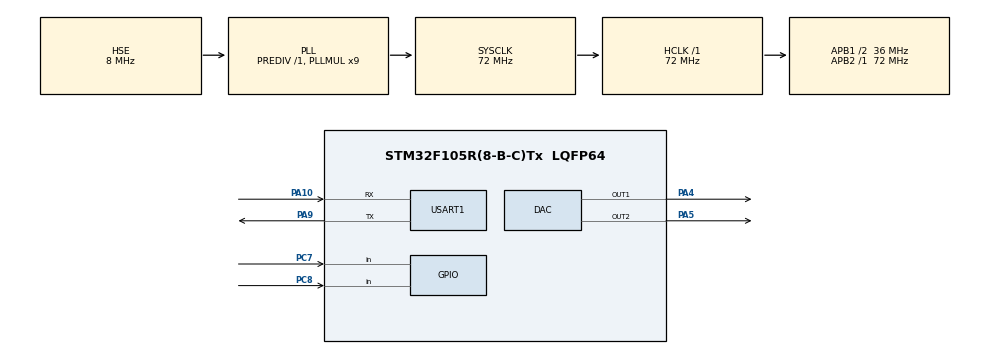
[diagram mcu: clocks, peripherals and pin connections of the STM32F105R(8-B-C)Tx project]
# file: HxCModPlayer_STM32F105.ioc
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DAC.DAC_Trigger=DAC_TRIGGER_T6_TRGO
Dma.DAC_CH1.0.Direction=DMA_MEMORY_TO_PERIPH
Dma.DAC_CH1.0.Instance=DMA2_Channel3
Dma.DAC_CH1.0.MemDataAlignment=DMA_MDATAALIGN_HALFWORD
Dma.DAC_CH1.0.MemInc=DMA_MINC_ENABLE
Dma.DAC_CH1.0.Mode=DMA_CIRCULAR
Dma.DAC_CH1.0.PeriphDataAlignment=DMA_PDATAALIGN_HALFWORD
Dma.DAC_CH1.0.PeriphInc=DMA_PINC_DISABLE
Dma.DAC_CH1.0.Priority=DMA_PRIORITY_MEDIUM
Dma.Request0=DAC_CH1
Mcu.Family=STM32F1
Mcu.Name=STM32F105R(8-B-C)Tx
Mcu.Package=LQFP64
NVIC.DMA2_Channel3_IRQn=true\:0\:0\:false\:false\:true\:false
NVIC.PriorityGroup=NVIC_PRIORITYGROUP_4
PA10.Mode=Asynchronous
PA10.Signal=USART1_RX
PA4.Signal=COMP_DAC1_group
PA5.Signal=COMP_DAC2_group
PA9.Mode=Asynchronous
PA9.Signal=USART1_TX
PB10.Signal=I2C2_SCL
PB11.Signal=I2C2_SDA
PC7.GPIO_PuPd=GPIO_PULLUP
PC7.Signal=GPIO_Input
PC8.GPIO_PuPd=GPIO_PULLUP
PC8.Signal=GPIO_Input
PD0-OSC_IN.Mode=HSE-External-Oscillator
PD0-OSC_IN.Signal=RCC_OSC_IN
PD1-OSC_OUT.Mode=HSE-External-Oscillator
PD1-OSC_OUT.Signal=RCC_OSC_OUT
ProjectManager.HeapSize=0x200
ProjectManager.StackSize=0x400
ProjectManager.TargetToolchain=Makefile
RCC.AHBFreq_Value=72000000
RCC.APB1CLKDivider=RCC_HCLK_DIV2
RCC.APB1Freq_Value=36000000
RCC.APB1TimFreq_Value=72000000
RCC.APB2Freq_Value=72000000
RCC.APB2TimFreq_Value=72000000
RCC.HCLKFreq_Value=72000000
RCC.PLLMUL=RCC_PLL_MUL9
RCC.PLLSourceVirtual=RCC_PLLSOURCE_HSE
RCC.SYSCLKFreq_VALUE=72000000
RCC.SYSCLKSource=RCC_SYSCLKSOURCE_PLLCLK
RCC.USBFreq_Value=48000000
SH.COMP_DAC1_group.0=DAC_OUT1,DAC_OUT1
SH.COMP_DAC2_group.0=DAC_OUT2,DAC_OUT2
TIM6.AutoReloadPreload=TIM_AUTORELOAD_PRELOAD_ENABLE
TIM6.Period=750
TIM6.Prescaler=0
TIM6.TIM_MasterOutputTrigger=TIM_TRGO_UPDATE
USART1.VirtualMode=VM_ASYNC
VP_SYS_VS_ND.Mode=No_Debug
VP_TIM6_VS_ClockSourceINT.Mode=Enable_Timer
board=HxCModPlayer_STM32F105

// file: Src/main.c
/**
  ******************************************************************************
  * File Name          : main.c
  * Description        : Main program body
  ******************************************************************************
  ** This notice applies to any and all portions of this file
  * that are not between comment pairs USER CODE BEGIN and
  * USER CODE END. Other portions of this file, whether
  * inserted by the user or by software development tools
  * are owned by their respective copyright owners.
  *
  * COPYRIGHT(c) 2018 STMicroelectronics
  *
  * Redistribution and use in source and binary forms, with or without modification,
  * are permitted provided that the following conditions are met:
  *   1. Redistributions of source code must retain the above copyright notice,
  *      this list of conditions and the following disclaimer.
  *   2. Redistributions in binary form must reproduce the above copyright notice,
  *      this list of conditions and the following disclaimer in the documentation
  *      and/or other materials provided with the distribution.
  *   3. Neither the name of STMicroelectronics nor the names of its contributors
  *      may be used to endorse or promote products derived from this software
  *      without specific prior written permission.
  *
  * THIS SOFTWARE IS PROVIDED BY THE COPYRIGHT HOLDERS AND CONTRIBUTORS "AS IS"
  * AND ANY EXPRESS OR IMPLIED WARRANTIES, INCLUDING, BUT NOT LIMITED TO, THE
  * IMPLIED WARRANTIES OF MERCHANTABILITY AND FITNESS FOR A PARTICULAR PURPOSE ARE
  * DISCLAIMED. IN NO EVENT SHALL THE COPYRIGHT HOLDER OR CONTRIBUTORS BE LIABLE
  * FOR ANY DIRECT, INDIRECT, INCIDENTAL, SPECIAL, EXEMPLARY, OR CONSEQUENTIAL
  * DAMAGES (INCLUDING, BUT NOT LIMITED TO, PROCUREMENT OF SUBSTITUTE GOODS OR
  * SERVICES; LOSS OF USE, DATA, OR PROFITS; OR BUSINESS INTERRUPTION) HOWEVER
  * CAUSED AND ON ANY THEORY OF LIABILITY, WHETHER IN CONTRACT, STRICT LIABILITY,
  * OR TORT (INCLUDING NEGLIGENCE OR OTHERWISE) ARISING IN ANY WAY OUT OF THE USE
  * OF THIS SOFTWARE, EVEN IF ADVISED OF THE POSSIBILITY OF SUCH DAMAGE.
  *
  ******************************************************************************
  */

#include "main.h"
#include "stm32f1xx_hal.h"

/* USER CODE BEGIN Includes */

// HxC MOD Player Demo for STM32
// 13 January 2018
// (c) Jean-François DEL NERO
// (c) HxC2001

#include "../../../hxcmod.h"
#include "print.h"
#include "gotek_display.h"

/* USER CODE END Includes */

DAC_HandleTypeDef hdac;
DMA_HandleTypeDef hdma_dac_ch1;

TIM_HandleTypeDef htim6;

UART_HandleTypeDef huart1;

/* USER CODE BEGIN PV */
/* Private variables ---------------------------------------------------------*/

#define PLAYER_SAMPLE_RATE 96000

// Mod player context
modcontext mcontext;

// MOD data
extern const unsigned char mod_data[39424];

// Computed sound output buffer
#define SAMPLE_BUFFER_SIZE 8192
msample dmasoundbuffer[SAMPLE_BUFFER_SIZE] __attribute__ ((aligned (4)));

/* USER CODE END PV */

void SystemClock_Config(void);
static void MX_GPIO_Init(void);
static void MX_DMA_Init(void);
static void MX_USART1_UART_Init(void);
static void MX_DAC_Init(void);
static void MX_TIM6_Init(void);

/* USER CODE BEGIN PFP */
/* Private function prototypes -----------------------------------------------*/

/* USER CODE END PFP */

/* USER CODE BEGIN 0 */

// First half samples buffer part need to be updated.
void HAL_DAC_ConvHalfCpltCallbackCh1(DAC_HandleTypeDef* hdac)
{
  int i;
  /* Prevent unused argument(s) compilation warning */
  UNUSED(hdac);

  hxcmod_fillbuffer( &mcontext, (msample*)&dmasoundbuffer, SAMPLE_BUFFER_SIZE/2, NULL );

  // 16 to 12 bits conversion to match with the STM32 DAC.
  for(i=0;i<SAMPLE_BUFFER_SIZE/2;i++)
    dmasoundbuffer[i] = dmasoundbuffer[i] >> 4;
}

// Last half samples buffer part need to be updated.
void HAL_DAC_ConvCpltCallbackCh1(DAC_HandleTypeDef* hdac)
{
  int i;
  /* Prevent unused argument(s) compilation warning */
  UNUSED(hdac);

  hxcmod_fillbuffer( &mcontext, (msample*)&dmasoundbuffer[SAMPLE_BUFFER_SIZE/2], SAMPLE_BUFFER_SIZE/2, NULL );

  // 16 to 12 bits conversion to match with the STM32 DAC.
  for(i=0;i<SAMPLE_BUFFER_SIZE/2;i++)
    dmasoundbuffer[(SAMPLE_BUFFER_SIZE/2) + i] = dmasoundbuffer[(SAMPLE_BUFFER_SIZE/2) + i] >> 4;
}

void HAL_DAC_ErrorCallbackCh1(DAC_HandleTypeDef *hdac)
{
  /* Prevent unused argument(s) compilation warning */
  UNUSED(hdac);

  print("HAL_DAC_ErrorCallbackCh1\r\n");
}

/* USER CODE END 0 */

int main(void)
{

  /* USER CODE BEGIN 1 */
  int i,oldpatternpos;
  /* USER CODE END 1 */

  /* MCU Configuration----------------------------------------------------------*/

  /* Reset of all peripherals, Initializes the Flash interface and the Systick. */
  HAL_Init();

  /* Configure the system clock */
  SystemClock_Config();

  /* Initialize all configured peripherals */
  MX_GPIO_Init();
  MX_DMA_Init();
  MX_USART1_UART_Init();
  MX_DAC_Init();
  MX_TIM6_Init();

  /* USER CODE BEGIN 2 */
  init_display();

  print("\r\n\r\n");
  print("***************************************\r\n");
  print("*  STM32 HxC Mod Player Demonstrator  *\r\n");
  print("*       (c)2018 J-F DEL NERO          *\r\n");
  print("***************************************\r\n\r\n");

  print("HxCMod Init...\r\n");
  hxcmod_init( &mcontext );

  print("HxCMod Set config...\r\n");
  hxcmod_setcfg( &mcontext, PLAYER_SAMPLE_RATE, 0, 0);

  print("Load module...\r\n");
  hxcmod_load( &mcontext, (void*)&mod_data, sizeof(mod_data) );

  print("Playing...\r\n");

  // Clear Buffer
  for(i=0;i<SAMPLE_BUFFER_SIZE;i++)
  {
    dmasoundbuffer[i] = 2048;
  }

  HAL_DAC_Start_DMA(&hdac, DAC_CHANNEL_1, (uint32_t*)&dmasoundbuffer, SAMPLE_BUFFER_SIZE , DAC_ALIGN_12B_R);

  // Go !
  HAL_TIM_Base_Start(&htim6);

  /* USER CODE END 2 */

  /* Infinite loop */
  /* USER CODE BEGIN WHILE */
  i = 0;
  oldpatternpos = -1;
  while (1)
  {
    /* USER CODE END WHILE */
    //Print the pattern position if needed.
    if(mcontext.patternpos != oldpatternpos)
    {
      oldpatternpos = mcontext.patternpos;
      printdigit( oldpatternpos / mcontext.number_of_channels );
    }
    /* USER CODE BEGIN 3 */
  }

  hxcmod_unload( &mcontext );
  /* USER CODE END 3 */
}

/** System Clock Configuration
*/
void SystemClock_Config(void)
{

  RCC_OscInitTypeDef RCC_OscInitStruct;
  RCC_ClkInitTypeDef RCC_ClkInitStruct;

    /**Initializes the CPU, AHB and APB busses clocks
    */
  RCC_OscInitStruct.OscillatorType = RCC_OSCILLATORTYPE_HSE;
  RCC_OscInitStruct.HSEState = RCC_HSE_ON;
  RCC_OscInitStruct.HSEPredivValue = RCC_HSE_PREDIV_DIV1;
  RCC_OscInitStruct.HSIState = RCC_HSI_ON;
  RCC_OscInitStruct.Prediv1Source = RCC_PREDIV1_SOURCE_HSE;
  RCC_OscInitStruct.PLL.PLLState = RCC_PLL_ON;
  RCC_OscInitStruct.PLL.PLLSource = RCC_PLLSOURCE_HSE;
  RCC_OscInitStruct.PLL.PLLMUL = RCC_PLL_MUL9;
  RCC_OscInitStruct.PLL2.PLL2State = RCC_PLL_NONE;
  if (HAL_RCC_OscConfig(&RCC_OscInitStruct) != HAL_OK)
  {
    _Error_Handler(__FILE__, __LINE__);
  }

    /**Initializes the CPU, AHB and APB busses clocks
    */
  RCC_ClkInitStruct.ClockType = RCC_CLOCKTYPE_HCLK|RCC_CLOCKTYPE_SYSCLK
                              |RCC_CLOCKTYPE_PCLK1|RCC_CLOCKTYPE_PCLK2;
  RCC_ClkInitStruct.SYSCLKSource = RCC_SYSCLKSOURCE_PLLCLK;
  RCC_ClkInitStruct.AHBCLKDivider = RCC_SYSCLK_DIV1;
  RCC_ClkInitStruct.APB1CLKDivider = RCC_HCLK_DIV2;
  RCC_ClkInitStruct.APB2CLKDivider = RCC_HCLK_DIV1;

  if (HAL_RCC_ClockConfig(&RCC_ClkInitStruct, FLASH_LATENCY_2) != HAL_OK)
  {
    _Error_Handler(__FILE__, __LINE__);
  }

    /**Configure the Systick interrupt time
    */
  HAL_SYSTICK_Config(HAL_RCC_GetHCLKFreq()/1000);

    /**Configure the Systick
    */
  HAL_SYSTICK_CLKSourceConfig(SYSTICK_CLKSOURCE_HCLK);

    /**Configure the Systick interrupt time
    */
  __HAL_RCC_PLLI2S_ENABLE();

  /* SysTick_IRQn interrupt configuration */
  HAL_NVIC_SetPriority(SysTick_IRQn, 0, 0);
}

/* DAC init function */
static void MX_DAC_Init(void)
{

  DAC_ChannelConfTypeDef sConfig;

    /**DAC Initialization
    */
  hdac.Instance = DAC;
  if (HAL_DAC_Init(&hdac) != HAL_OK)
  {
    _Error_Handler(__FILE__, __LINE__);
  }

    /**DAC channel OUT1 config
    */
  sConfig.DAC_Trigger = DAC_TRIGGER_T6_TRGO;
  sConfig.DAC_OutputBuffer = DAC_OUTPUTBUFFER_ENABLE;
  if (HAL_DAC_ConfigChannel(&hdac, &sConfig, DAC_CHANNEL_1) != HAL_OK)
  {
    _Error_Handler(__FILE__, __LINE__);
  }

    /**DAC channel OUT2 config
    */
  sConfig.DAC_Trigger = DAC_TRIGGER_NONE;
  if (HAL_DAC_ConfigChannel(&hdac, &sConfig, DAC_CHANNEL_2) != HAL_OK)
  {
    _Error_Handler(__FILE__, __LINE__);
  }

}

/* TIM6 init function */
static void MX_TIM6_Init(void)
{

  TIM_MasterConfigTypeDef sMasterConfig;

  htim6.Instance = TIM6;
  htim6.Init.Prescaler = 0;
  htim6.Init.CounterMode = TIM_COUNTERMODE_UP;
  htim6.Init.Period = SystemCoreClock / PLAYER_SAMPLE_RATE;
  htim6.Init.AutoReloadPreload = TIM_AUTORELOAD_PRELOAD_ENABLE;
  if (HAL_TIM_Base_Init(&htim6) != HAL_OK)
  {
    _Error_Handler(__FILE__, __LINE__);
  }

  sMasterConfig.MasterOutputTrigger = TIM_TRGO_UPDATE;
  sMasterConfig.MasterSlaveMode = TIM_MASTERSLAVEMODE_DISABLE;
  if (HAL_TIMEx_MasterConfigSynchronization(&htim6, &sMasterConfig) != HAL_OK)
  {
    _Error_Handler(__FILE__, __LINE__);
  }

}

/* USART1 init function */
static void MX_USART1_UART_Init(void)
{

  huart1.Instance = USART1;
  huart1.Init.BaudRate = 115200;
  huart1.Init.WordLength = UART_WORDLENGTH_8B;
  huart1.Init.StopBits = UART_STOPBITS_1;
  huart1.Init.Parity = UART_PARITY_NONE;
  huart1.Init.Mode = UART_MODE_TX_RX;
  huart1.Init.HwFlowCtl = UART_HWCONTROL_NONE;
  huart1.Init.OverSampling = UART_OVERSAMPLING_16;
  if (HAL_UART_Init(&huart1) != HAL_OK)
  {
    _Error_Handler(__FILE__, __LINE__);
  }

}

static void MX_DMA_Init(void)
{
  /* DMA controller clock enable */
  __HAL_RCC_DMA2_CLK_ENABLE();

  /* DMA interrupt init */
  /* DMA2_Channel3_IRQn interrupt configuration */
  HAL_NVIC_SetPriority(DMA2_Channel3_IRQn, 0, 0);
  HAL_NVIC_EnableIRQ(DMA2_Channel3_IRQn);

}

/** Configure pins as
        * Analog
        * Input
        * Output
        * EVENT_OUT
        * EXTI
     PB10   ------> I2C2_SCL
     PB11   ------> I2C2_SDA
*/
static void MX_GPIO_Init(void)
{

  GPIO_InitTypeDef GPIO_InitStruct;

  /* GPIO Ports Clock Enable */
  __HAL_RCC_GPIOD_CLK_ENABLE();
  __HAL_RCC_GPIOA_CLK_ENABLE();
  __HAL_RCC_GPIOB_CLK_ENABLE();
  __HAL_RCC_GPIOC_CLK_ENABLE();

  /*Configure GPIO pins : PB10 PB11 */
  GPIO_InitStruct.Pin = GPIO_PIN_10|GPIO_PIN_11;
  GPIO_InitStruct.Mode = GPIO_MODE_AF_OD;
  GPIO_InitStruct.Speed = GPIO_SPEED_FREQ_HIGH;
  HAL_GPIO_Init(GPIOB, &GPIO_InitStruct);

  /*Configure GPIO pins : PC7 PC8 */
  GPIO_InitStruct.Pin = GPIO_PIN_7|GPIO_PIN_8;
  GPIO_InitStruct.Mode = GPIO_MODE_INPUT;
  GPIO_InitStruct.Pull = GPIO_PULLUP;
  HAL_GPIO_Init(GPIOC, &GPIO_InitStruct);

}

void _Error_Handler(char * file, int line)
{
  while(1)
  {
  }
}

/************************ (C) COPYRIGHT STMicroelectronics *****END OF FILE****/
